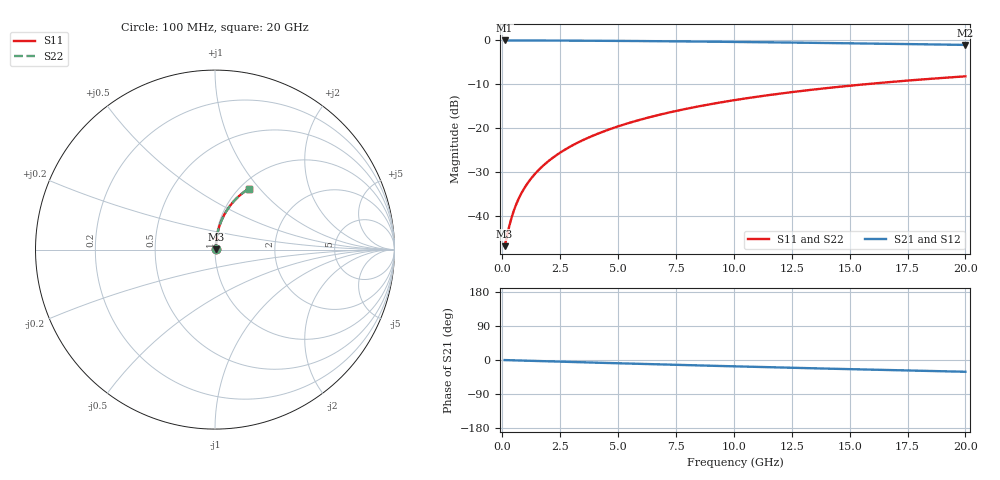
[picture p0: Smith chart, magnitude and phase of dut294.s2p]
! Touchstone file exported from HFSS 2024.1.0
!  File:  C:/UserFiles/LocalFiles/RDL_TSV_Batchsim/temp_RDL_bottom_294_1778703512.aedt
!  Generated:  04:21:14 AM May 14, 2026
!  Design:  RDL_bottom
!  Project:  temp_RDL_bottom_294_1778703512
!  Setup:  Setup1
!  Solution:  Sweep
! Variables:
!  dtsv = 10.80580581um
!  hbump = 3um
!  htsv = 59.79um
!  ldown = 349.22um
!  lrdl = 100um
!  p = 40
!  p1 = 51.3um
!  rhole = 1um
!  t = 450um
!  tdown = 2.68um
!  trdl = 3.915915916um
!  wdown = 12.02um
!  wrdl = 20um
# GHz S MA R 50.000000
! Terminal data exported
! Port[1] = RDL1_T1
! Port[2] = RDL1_T2
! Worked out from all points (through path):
!   200 points, 100 MHz to 20 GHz, reference 50 ohm
!   highest |S21| = -0.03 dB at 100 MHz (marker M1); lowest = -1.0 dB at 20 GHz (marker M2)
!   group delay of S21, straight-line fit = 4.31 ps
!   lowest |S11| = -46.9 dB at 100 MHz (marker M3), VSWR 1.01, Z = 50.4 + j0.218 ohm
!   |S11| at or under -10 dB: start of sweep to 15.68 GHz
!   |S22| runs from -46.9 to -8.2 dB; largest |S21 - S12| = 4.1e-15
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0.1  0.004543 28.5  0.996 -0.2  0.996 -0.2  0.004543 28.5
! Gamma 0 0 0 0
! Port Impedance 50 0 50 0
0.3  0.007666 57.7  0.9959 -0.5  0.9959 -0.5  0.007666 57.7
0.4  0.009578 64.1  0.9958 -0.7  0.9958 -0.7  0.009578 64.1
0.5  0.01156 68.3  0.9957 -0.9  0.9957 -0.9  0.01156 68.3
0.6  0.01358 71.1  0.9956 -1.1  0.9956 -1.1  0.01358 71.1
0.7  0.01561 73.2  0.9955 -1.2  0.9955 -1.2  0.01561 73.2
0.9  0.0197 76.0  0.9952 -1.6  0.9952 -1.6  0.0197 76.0
1.2  0.02585 78.4  0.9949 -2.1  0.9949 -2.1  0.02585 78.4
1.4  0.02996 79.4  0.9946 -2.5  0.9946 -2.5  0.02996 79.4
1.7  0.03614 80.5  0.9941 -3.0  0.9941 -3.0  0.03614 80.5
2.2  0.04648 81.4  0.9932 -3.8  0.9932 -3.8  0.04648 81.4
2.8  0.05893 81.8  0.9919 -4.9  0.9919 -4.9  0.05893 81.8
3.5  0.07351 81.7  0.99 -6.1  0.99 -6.1  0.07351 81.7
4.2  0.08812 81.4  0.9877 -7.3  0.9877 -7.3  0.08812 81.4
5  0.1048 80.7  0.9848 -8.6  0.9848 -8.6  0.1048 80.7
5.9  0.1237 79.8  0.981 -10.1  0.981 -10.1  0.1236 79.8
6.8  0.1424 78.8  0.9767 -11.6  0.9767 -11.6  0.1424 78.8
8.3  0.1734 76.9  0.9688 -14.0  0.9688 -14.0  0.1734 76.9
10.1  0.21 74.5  0.9582 -16.9  0.9582 -16.9  0.21 74.5
13.4  0.2744 69.9  0.9363 -21.8  0.9363 -21.8  0.2743 69.9
16.7  0.3342 65.3  0.9121 -26.6  0.9121 -26.6  0.3342 65.3
20  0.389 60.8  0.8866 -31.0  0.8866 -31.0  0.389 60.8
